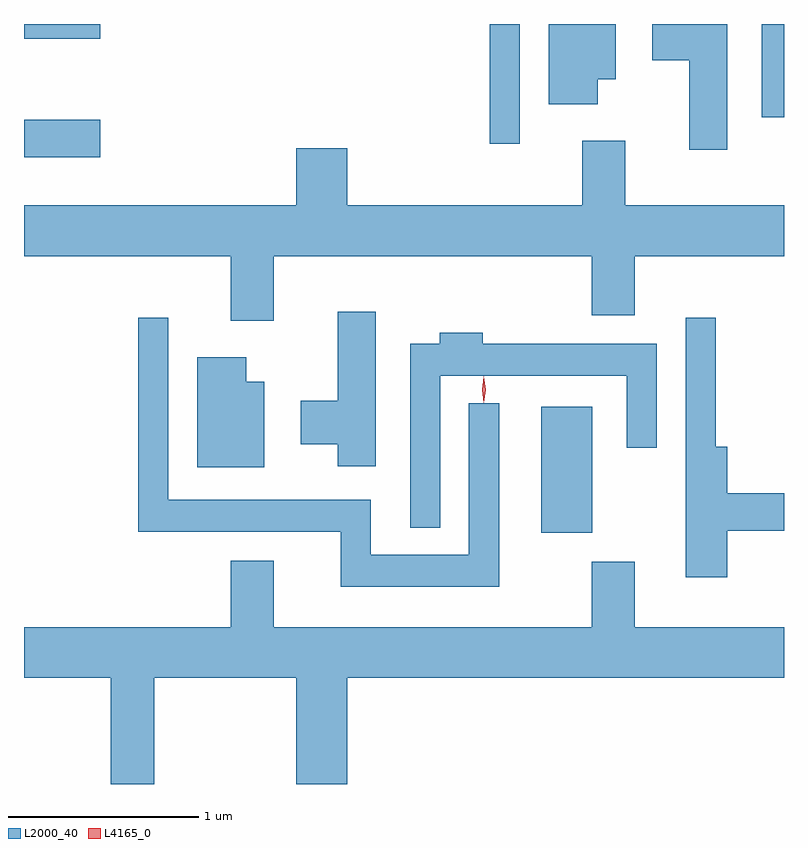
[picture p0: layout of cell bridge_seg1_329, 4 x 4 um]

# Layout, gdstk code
import gdstk
lib = gdstk.Library(unit=1e-6, precision=1e-09)
def R(c, l, rs):  # rectangles x0, y0, x1, y1
    for r in rs: c.add(gdstk.rectangle(r[:2], r[2:], *l))
def P(c, l, *ps):  # polygons
    for p in ps: c.add(gdstk.Polygon(p, *l))
L2000_40 = (2000, 40)
L4165_0 = (4165, 0)

bridge_seg1_329 = lib.new_cell('bridge_seg1_329')
R(bridge_seg1_329, L2000_40, [(935.646,880.361,935.914,881.024), (932.924,882.336,933.324,882.534), (935.376,882.408,935.534,883.038), (936.806,882.546,936.924,883.038), (932.924,882.961,933.324,883.038)])
P(bridge_seg1_329, L2000_40, [(935.944,882.746),(936.039,882.746),(936.039,883.038),(935.686,883.038),(935.686,882.616),(935.944,882.616)],
  [(936.624,883.038),(936.231,883.038),(936.231,882.846),(936.426,882.846),(936.426,882.376),(936.624,882.376)],
  [(934.239,881.816),(935.911,881.816),(935.911,881.506),(936.139,881.506),(936.139,881.816),(936.924,881.816),(936.924,882.084),(936.089,882.084),(936.089,882.424),(935.861,882.424),(935.861,882.084),(934.624,882.084),(934.624,882.384),(934.356,882.384),(934.356,882.084),(932.924,882.084),(932.924,881.816),(934.011,881.816),(934.011,881.476),(934.239,881.476)],
  [(934.774,881.524),(934.576,881.524),(934.576,881.054),(934.381,881.054),(934.381,880.826),(934.576,880.826),(934.576,880.711),(934.774,880.711)],
  [(935.424,881.043),(935.266,881.043),(935.266,880.244),(934.749,880.244),(934.749,880.534),(933.684,880.534),(933.684,881.493),(933.526,881.493),(933.526,880.366),(934.591,880.366),(934.591,880.076),(935.424,880.076)],
  [(936.624,880.371),(936.924,880.371),(936.924,880.569),(936.624,880.569),(936.624,880.814),(936.564,880.814),(936.564,881.493),(936.406,881.493),(936.406,880.126),(936.624,880.126)],
  [(935.114,881.186),(936.096,881.186),(936.096,880.808),(936.254,880.808),(936.254,881.354),(935.339,881.354),(935.339,881.414),(935.111,881.414),(935.111,881.354),(934.956,881.354),(934.956,880.388),(935.114,880.388)],
  [(934.189,881.154),(934.094,881.154),(934.094,881.284),(933.836,881.284),(933.836,880.706),(934.189,880.706)],
  [(933.609,879.596),(934.356,879.596),(934.356,879.038),(934.624,879.038),(934.624,879.596),(936.924,879.596),(936.924,879.864),(936.139,879.864),(936.139,880.209),(935.911,880.209),(935.911,879.864),(934.239,879.864),(934.239,880.214),(934.011,880.214),(934.011,879.864),(932.924,879.864),(932.924,879.596),(933.381,879.596),(933.381,879.038),(933.609,879.038)])
P(bridge_seg1_329, L4165_0, [(935.344,881.044),(935.335,881.113),(935.344,881.182),(935.345,881.183),(935.345,881.182),(935.355,881.113),(935.345,881.044),(935.345,881.044)],
  [(935.344,881.047),(935.335,881.114),(935.344,881.18),(935.345,881.181),(935.345,881.18),(935.355,881.114),(935.345,881.047),(935.345,881.047)])

lib.write_gds('bridge_seg1_329.gds')
